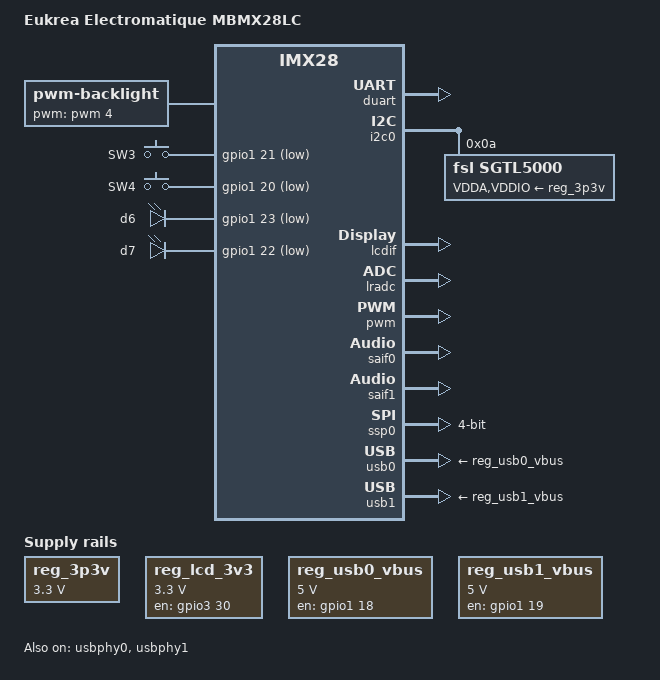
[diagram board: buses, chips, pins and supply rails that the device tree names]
/*
 * Copyright 2013 Eukréa Electromatique <eric@eukrea.com>
 * Copyright 2013 Eukréa Electromatique <denis@eukrea.com>
 *
 * This program is free software; you can redistribute it and/or
 * modify it under the terms of the GNU General Public License
 * as published by the Free Software Foundation; either version 2
 * of the License, or (at your option) any later version.
 * This program is distributed in the hope that it will be useful,
 * but WITHOUT ANY WARRANTY; without even the implied warranty of
 * MERCHANTABILITY or FITNESS FOR A PARTICULAR PURPOSE.  See the
 * GNU General Public License for more details.
 */

#include <dt-bindings/input/input.h>
#include <dt-bindings/gpio/gpio.h>
#include "imx28.dtsi"

/ {
	model = "Eukrea Electromatique MBMX28LC";
	compatible = "eukrea,mbmx28lc", "fsl,imx28";

	backlight {
		compatible = "pwm-backlight";
		pwms = <&pwm 4 1000000>;
		brightness-levels = <0 25 50 75 100 125 150 175 200 225 255>;
		default-brightness-level = <10>;
	};

	button-sw3 {
		compatible = "gpio-keys";
		pinctrl-names = "default";
		pinctrl-0 = <&gpio_button_sw3_pins_mbmx28lc>;

		sw3 {
			label = "SW3";
			gpios = <&gpio1 21 GPIO_ACTIVE_LOW>;
			linux,code = <BTN_MISC>;
			wakeup-source;
		};
	};

	button-sw4 {
		compatible = "gpio-keys";
		pinctrl-names = "default";
		pinctrl-0 = <&gpio_button_sw4_pins_mbmx28lc>;

		sw4 {
			label = "SW4";
			gpios = <&gpio1 20 GPIO_ACTIVE_LOW>;
			linux,code = <BTN_MISC>;
			wakeup-source;
		};
	};

	led-d6 {
		compatible = "gpio-leds";
		pinctrl-names = "default";
		pinctrl-0 = <&led_d6_pins_mbmx28lc>;

		led1 {
			label = "d6";
			gpios = <&gpio1 23 GPIO_ACTIVE_LOW>;
			linux,default-trigger = "heartbeat";
		};
	};

	led-d7 {
		compatible = "gpio-leds";
		pinctrl-names = "default";
		pinctrl-0 = <&led_d7_pins_mbmx28lc>;

		led1 {
			label = "d7";
			gpios = <&gpio1 22 GPIO_ACTIVE_LOW>;
			linux,default-trigger = "default-on";
		};
	};

	regulators {
		compatible = "simple-bus";
		#address-cells = <1>;
		#size-cells = <0>;

		reg_3p3v: regulator@0 {
			compatible = "regulator-fixed";
			reg = <0>;
			regulator-name = "3P3V";
			regulator-min-microvolt = <3300000>;
			regulator-max-microvolt = <3300000>;
			regulator-always-on;
		};

		reg_lcd_3v3: regulator@1 {
			compatible = "regulator-fixed";
			reg = <1>;
			pinctrl-names = "default";
			pinctrl-0 = <&reg_lcd_3v3_pins_mbmx28lc>;
			regulator-name = "lcd-3v3";
			regulator-min-microvolt = <3300000>;
			regulator-max-microvolt = <3300000>;
			gpio = <&gpio3 30 GPIO_ACTIVE_HIGH>;
			enable-active-high;
		};

		reg_usb0_vbus: regulator@2 {
			compatible = "regulator-fixed";
			reg = <2>;
			pinctrl-names = "default";
			pinctrl-0 = <&reg_usb0_vbus_pins_mbmx28lc>;
			regulator-name = "usb0_vbus";
			regulator-min-microvolt = <5000000>;
			regulator-max-microvolt = <5000000>;
			gpio = <&gpio1 18 GPIO_ACTIVE_HIGH>;
			enable-active-high;
		};

		reg_usb1_vbus: regulator@3 {
			compatible = "regulator-fixed";
			reg = <3>;
			pinctrl-names = "default";
			pinctrl-0 = <&reg_usb1_vbus_pins_mbmx28lc>;
			regulator-name = "usb1_vbus";
			regulator-min-microvolt = <5000000>;
			regulator-max-microvolt = <5000000>;
			gpio = <&gpio1 19 GPIO_ACTIVE_HIGH>;
			enable-active-high;
		};
	};

	sound {
		compatible = "fsl,imx28-mbmx28lc-sgtl5000",
			     "fsl,mxs-audio-sgtl5000";
		model = "imx28-mbmx28lc-sgtl5000";
		saif-controllers = <&saif0 &saif1>;
		audio-codec = <&sgtl5000>;
	};
};

&duart {
	pinctrl-names = "default";
	pinctrl-0 = <&duart_4pins_a>;
	status = "okay";
};

&i2c0 {
	pinctrl-names = "default";
	pinctrl-0 = <&i2c0_pins_a>;
	status = "okay";

	sgtl5000: codec@a {
		compatible = "fsl,sgtl5000";
		reg = <0x0a>;
		#sound-dai-cells = <0>;
		VDDA-supply = <&reg_3p3v>;
		VDDIO-supply = <&reg_3p3v>;
		clocks = <&saif0>;
	};
};

&lcdif {
	pinctrl-names = "default";
	pinctrl-0 = <&lcdif_18bit_pins_a &lcdif_pins_mbmx28lc>;
	lcd-supply = <&reg_lcd_3v3>;
	display = <&display0>;
	status = "okay";

	display0: display0 {
		model = "43WVF1G-0";
		bits-per-pixel = <16>;
		bus-width = <18>;

		display-timings {
			native-mode = <&timing0>;
			timing0: timing0 {
				clock-frequency = <9072000>;
				hactive = <480>;
				vactive = <272>;
				hback-porch = <10>;
				hfront-porch = <5>;
				vback-porch = <8>;
				vfront-porch = <8>;
				hsync-len = <40>;
				vsync-len = <10>;
				hsync-active = <0>;
				vsync-active = <0>;
				de-active = <1>;
				pixelclk-active = <1>;
			};
		};
	};
};

&lradc {
	fsl,lradc-touchscreen-wires = <4>;
	status = "okay";
};

&pinctrl {
	gpio_button_sw3_pins_mbmx28lc: gpio-button-sw3-mbmx28lc@0 {
		reg = <0>;
		fsl,pinmux-ids = <
			MX28_PAD_LCD_D21__GPIO_1_21
		>;
		fsl,drive-strength = <MXS_DRIVE_4mA>;
		fsl,voltage = <MXS_VOLTAGE_HIGH>;
		fsl,pull-up = <MXS_PULL_DISABLE>;
	};

	gpio_button_sw4_pins_mbmx28lc: gpio-button-sw4-mbmx28lc@0 {
		reg = <0>;
		fsl,pinmux-ids = <
			MX28_PAD_LCD_D20__GPIO_1_20
		>;
		fsl,drive-strength = <MXS_DRIVE_4mA>;
		fsl,voltage = <MXS_VOLTAGE_HIGH>;
		fsl,pull-up = <MXS_PULL_DISABLE>;
	};

	lcdif_pins_mbmx28lc: lcdif-mbmx28lc@0 {
		reg = <0>;
		fsl,pinmux-ids = <
			MX28_PAD_LCD_VSYNC__LCD_VSYNC
			MX28_PAD_LCD_HSYNC__LCD_HSYNC
			MX28_PAD_LCD_DOTCLK__LCD_DOTCLK
			MX28_PAD_LCD_ENABLE__LCD_ENABLE
		>;
		fsl,drive-strength = <MXS_DRIVE_4mA>;
		fsl,voltage = <MXS_VOLTAGE_HIGH>;
		fsl,pull-up = <MXS_PULL_DISABLE>;
	};

	led_d6_pins_mbmx28lc: led-d6-mbmx28lc@0 {
		reg = <0>;
		fsl,pinmux-ids = <
			MX28_PAD_LCD_D23__GPIO_1_23
		>;
		fsl,drive-strength = <MXS_DRIVE_4mA>;
		fsl,voltage = <MXS_VOLTAGE_HIGH>;
		fsl,pull-up = <MXS_PULL_DISABLE>;
	};

	led_d7_pins_mbmx28lc: led-d7-mbmx28lc@0 {
		reg = <0>;
		fsl,pinmux-ids = <
			MX28_PAD_LCD_D22__GPIO_1_22
		>;
		fsl,drive-strength = <MXS_DRIVE_4mA>;
		fsl,voltage = <MXS_VOLTAGE_HIGH>;
		fsl,pull-up = <MXS_PULL_DISABLE>;
	};

	reg_lcd_3v3_pins_mbmx28lc: lcd-3v3-mbmx28lc@0 {
		reg = <0>;
		fsl,pinmux-ids = <
			MX28_PAD_LCD_RESET__GPIO_3_30
		>;
		fsl,drive-strength = <MXS_DRIVE_4mA>;
		fsl,voltage = <MXS_VOLTAGE_HIGH>;
		fsl,pull-up = <MXS_PULL_DISABLE>;
	};

	reg_usb0_vbus_pins_mbmx28lc: reg-usb0-vbus-mbmx28lc@0 {
		reg = <0>;
		fsl,pinmux-ids = <
			MX28_PAD_LCD_D18__GPIO_1_18
		>;
		fsl,drive-strength = <MXS_DRIVE_4mA>;
		fsl,voltage = <MXS_VOLTAGE_HIGH>;
		fsl,pull-up = <MXS_PULL_DISABLE>;
	};

	reg_usb1_vbus_pins_mbmx28lc: reg-usb1-vbus-mbmx28lc@0 {
		reg = <0>;
		fsl,pinmux-ids = <
			MX28_PAD_LCD_D19__GPIO_1_19
		>;
		fsl,drive-strength = <MXS_DRIVE_4mA>;
		fsl,voltage = <MXS_VOLTAGE_HIGH>;
		fsl,pull-up = <MXS_PULL_DISABLE>;
	};
};

&pwm {
	pinctrl-names = "default";
	pinctrl-0 = <&pwm4_pins_a>;
	status = "okay";
};

&saif0 {
	pinctrl-names = "default";
	pinctrl-0 = <&saif0_pins_a>;
	status = "okay";
};

&saif1 {
	pinctrl-names = "default";
	pinctrl-0 = <&saif1_pins_a>;
	fsl,saif-master = <&saif0>;
	status = "okay";
};

&ssp0 {
	compatible = "fsl,imx28-mmc";
	pinctrl-names = "default";
	pinctrl-0 = <&mmc0_4bit_pins_a &mmc0_cd_cfg &mmc0_sck_cfg>;
	bus-width = <4>;
	cd-inverted;
	status = "okay";
};

&usb0 {
	disable-over-current;
	vbus-supply = <&reg_usb0_vbus>;
	status = "okay";
	pinctrl-names = "default";
	pinctrl-0 = <&usb0_id_pins_b>;
};

&usb1 {
	vbus-supply = <&reg_usb1_vbus>;
	status = "okay";
};

&usbphy0 {
	status = "okay";
};

&usbphy1 {
	status = "okay";
};
